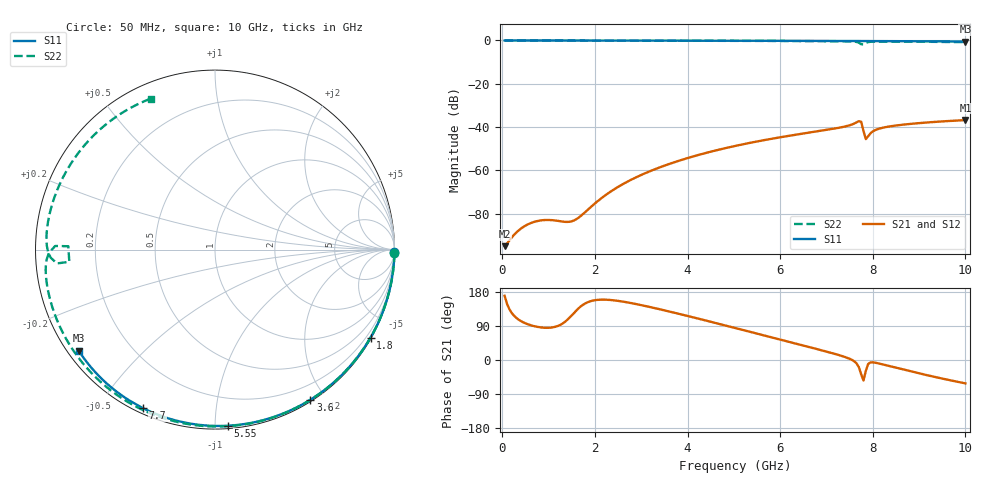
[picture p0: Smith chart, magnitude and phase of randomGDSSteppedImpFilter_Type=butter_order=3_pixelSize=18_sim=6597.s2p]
! freq	dB(S11)	phase(S11)	dB(S12)	phase(S12)
!  dB(S21)	phase(S21)	dB(S22)	phase(S22)
!S-par simulation data
#  GHz  S  DB  R 50
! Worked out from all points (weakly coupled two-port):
!   200 points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, 50 MHz to 10 GHz, reference 50 ohm
!   highest |S21| = -36.77 dB at 10 GHz (marker M1); lowest = -95.0 dB at 50 MHz (marker M2)
!   lowest |S11| = -0.5 dB at 10 GHz (marker M3), VSWR 35.70, Z = 1.55 - j16.5 ohm
!   |S11| at or under -10 dB: nowhere
!   |S22| runs from -1.8 to 0.0 dB; largest |S21 - S12| = 0
!   S11 on the Smith chart (normalised r, x): 50 MHz: open; 1.8 GHz: 0.03, -3.80; 3.6 GHz: 0.02, -1.82; 5.55 GHz: 0.02, -1.08; 7.7 GHz: 0.02, -0.64; 10 GHz: 0.03, -0.33
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0.05  -0.00 -0.8  -94.99 169.6  -94.99 169.6  -0.00 -1.2
0.85  -0.02 -14.1  -83.04 85.7  -83.04 85.7  -0.02 -20.5
1.75  -0.04 -28.7  -80.03 146.3  -80.03 146.3  -0.05 -41.7
1.8  -0.04 -29.5  -79.07 149.9  -79.07 149.9  -0.05 -42.9
2.15  -0.05 -35.1  -72.67 159.3  -72.67 159.3  -0.06 -51.0
2.5  -0.05 -40.6  -67.62 156.0  -67.62 156.0  -0.08 -59.0
3.4  -0.07 -54.5  -58.60 133.9  -58.60 133.9  -0.11 -79.3
3.6  -0.08 -57.6  -57.06 128.1  -57.06 128.1  -0.11 -83.7
4.3  -0.10 -68.0  -52.49 107.1  -52.49 107.1  -0.14 -99.1
5.05  -0.12 -78.7  -48.61 83.8  -48.61 83.8  -0.18 -115.4
5.55  -0.14 -85.8  -46.44 68.1  -46.44 68.1  -0.21 -126.3
6.7  -0.20 -101.3  -42.30 31.9  -42.30 31.9  -0.30 -152.4
7.45  -0.24 -111.2  -39.47 5.7  -39.47 5.7  -0.42 -171.7
7.7  -0.26 -114.4  -37.26 -18.9  -37.26 -18.9  -1.01 178.7
7.75  -0.27 -115.0  -37.57 -37.9  -37.57 -37.9  -1.75 178.7
7.8  -0.27 -115.7  -41.83 -54.1  -41.83 -54.1  -1.78 -175.2
7.85  -0.28 -116.3  -45.56 -28.9  -45.56 -28.9  -1.07 -175.0
7.95  -0.28 -117.6  -42.88 -6.4  -42.88 -6.4  -0.62 -179.4
8.05  -0.29 -118.9  -41.43 -7.0  -41.43 -7.0  -0.53 176.9
8.35  -0.32 -122.7  -39.74 -15.8  -39.74 -15.8  -0.51 167.7
9.2  -0.40 -133.4  -37.83 -40.9  -37.83 -40.9  -0.62 141.4
10  -0.49 -143.5  -36.77 -61.7  -36.77 -61.7  -0.78 113.1
